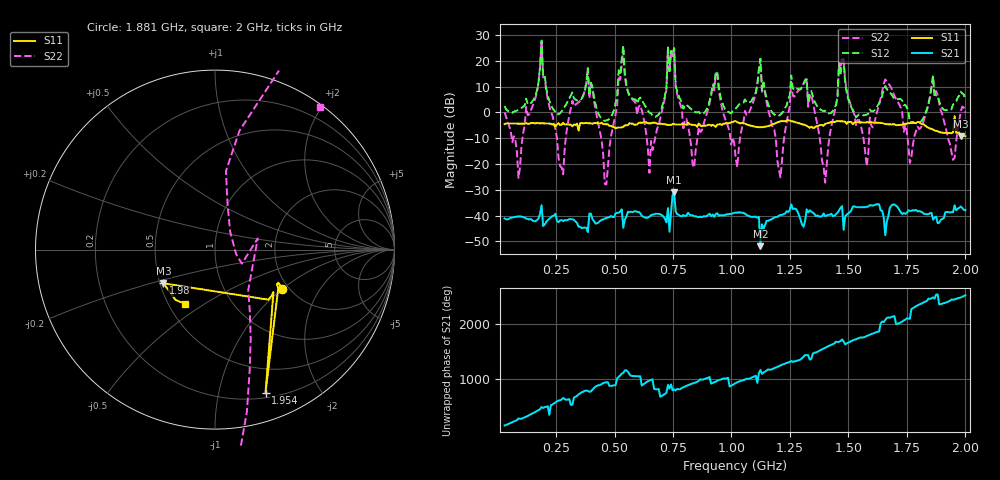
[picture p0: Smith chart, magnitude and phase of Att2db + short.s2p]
# Hz S DB R 50.000000
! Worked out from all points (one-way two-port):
!   300 points, 30 MHz to 2 GHz, reference 50 ohm
!   highest |S21| = -31.00 dB at 754.7 MHz (marker M1); lowest = -51.9 dB at 1.124 GHz (marker M2)
!   lowest |S11| = -9.3 dB at 1.98 GHz (marker M3), VSWR 2.05, Z = 26.1 - j11.1 ohm
!   |S11| at or under -10 dB: nowhere
!   |S22| runs from -28.0 to 27.5 dB; largest |S21 - S12| = 25
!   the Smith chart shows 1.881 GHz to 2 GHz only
!   S11 on the Smith chart (normalised r, x): 1.881 GHz: 1.85, -1.00; 1.954 GHz: 0.25, -1.38; 1.98 GHz: 0.52, -0.22; 2 GHz: 0.60, -0.41
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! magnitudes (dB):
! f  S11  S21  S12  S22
! 30 MHz  -4.5  -41.1  2.5  0.1
! 280.4 MHz  -4.1  -42.2  1.2  -24.0
! 359.4 MHz  -4.1  -44.9  5.4  5.4
! 464.8 MHz  -4.7  -41.0  -3.1  -28.0
! 537.3 MHz  -5.6  -44.8  26.0  24.2
! 688.9 MHz  -4.4  -39.4  -0.8  -4.9
! 754.7 MHz  -4.5  -31.0  25.0  24.7
! 840.4 MHz  -4.9  -40.2  0.2  -21.4
! 932.6 MHz  -5.6  -39.4  15.8  14.9
! 1.018 GHz  -3.4  -38.8  1.6  -18.1
! 1.124 GHz  -5.7  -51.9  20.9  20.7
! 1.209 GHz  -3.4  -39.8  -0.8  -25.2
! 1.348 GHz  -6.0  -38.9  6.3  4.1
! 1.4 GHz  -4.4  -40.3  0.7  -27.3
! 1.473 GHz  -3.4  -36.4  20.4  21.5
! 1.578 GHz  -3.8  -36.6  -0.8  -20.9
! 1.677 GHz  -4.6  -37.0  7.8  10.5
! 1.763 GHz  -4.2  -38.2  -3.8  -19.6
! 1.881 GHz  -7.2  -43.0  6.7  6.7
! 1.954 GHz  -1.5  -36.0  3.6  -17.6
! 1.98 GHz  -9.3  -36.5  8.0  0.5
! 2 GHz  -9.2  -37.9  4.8  -0.1
